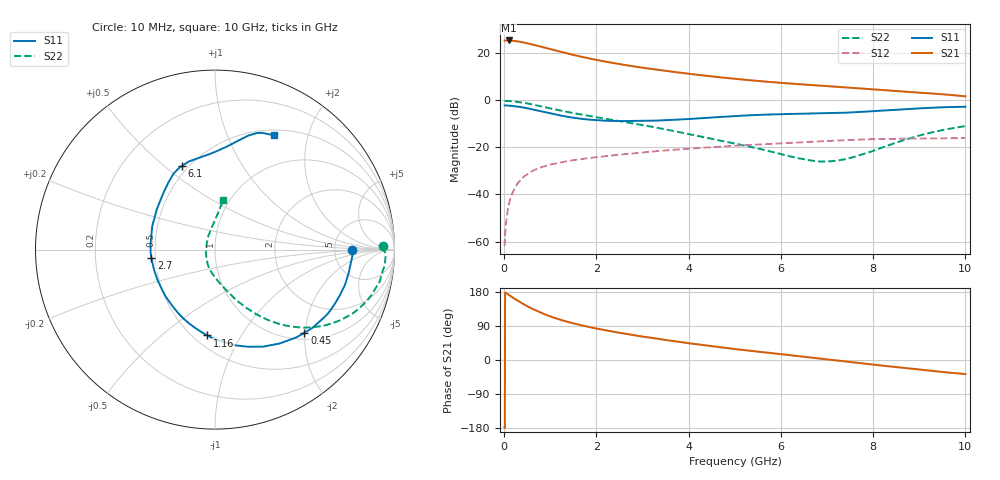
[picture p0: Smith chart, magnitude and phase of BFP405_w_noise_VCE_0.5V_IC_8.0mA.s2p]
! Infineon Technologies  Discrete & RF Semiconductors
! BFP405
! VCE =  0.5 V,  IC =  8.0 mA
! Common Emitter S-Parameters:  Jan 2016
# GHz  S  MA  R  50
!  f  S11  S21  S12  S22
! GHz  MAG  ANG  MAG  ANG  MAG  ANG  MAG  ANG
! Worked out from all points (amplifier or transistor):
!   233 points, 10 MHz to 10 GHz, reference 50 ohm
!   highest |S21| = 25.2 dB at 100 MHz (marker M1)
!   |S21| within 3 dB of that: start of sweep to 869.7 MHz
!   unconditionally stable (mu >= 1): start of sweep to 16.58 MHz; 2.339 GHz to end of sweep
!   at 200 MHz: K = 0.18, MSG = 31.8 dB, |S12| = -38.6 dB
!   at 1.74 GHz: K = 0.82, MSG = 21.4 dB, |S12| = -24.9 dB
!   at 10 GHz: K = 1.49, MAG = 4.7 dB, |S12| = -16.2 dB
!   lowest NFmin = 1.48 dB at 900 MHz
!   S11 on the Smith chart (normalised r, x): 10 MHz: 7.36, +0.00; 450 MHz: 1.15, -1.98; 1.16 GHz: 0.59, -0.73; 2.7 GHz: 0.48, -0.05; 6.1 GHz: 0.46, +0.58; 10 GHz: 0.57, +1.49
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0.01  0.7609 0.0  18.06 -177.3  0.0008 86.3  0.9344 1.1
0.02  0.768 -1.9  18.11 178.2  0.0014 99.5  0.9458 -0.7
0.05  0.7619 -4.9  18.05 176.4  0.0029 81.8  0.951 -2.4
0.1  0.7559 -9.9  18.14 171.8  0.0059 85.5  0.9494 -5.3
0.26  0.7302 -25.7  17.57 159.2  0.0152 77.0  0.9177 -14.0
0.4  0.6961 -38.8  16.62 148.8  0.0223 70.5  0.8772 -20.8
0.45  0.6806 -43.0  16.21 145.4  0.0246 68.4  0.8601 -23.1
0.6  0.6346 -55.6  15 135.7  0.0307 63.0  0.8051 -29.1
0.8  0.5727 -71.0  13.38 124.5  0.0372 57.4  0.7321 -35.6
1  0.5175 -84.6  11.87 115.0  0.0428 52.8  0.6602 -41.2
1.16  0.4799 -95.1  10.82 108.6  0.0462 50.2  0.6132 -44.5
1.4  0.4352 -109.7  9.454 99.9  0.0511 47.0  0.5479 -49.1
1.68  0.3977 -125.1  8.178 91.5  0.056 44.3  0.4869 -53.2
2.12  0.3654 -147.2  6.671 80.3  0.0633 40.9  0.4105 -58.5
2.7  0.3571 -172.3  5.327 67.8  0.0725 37.1  0.3296 -64.8
3.4  0.3682 162.9  4.246 54.8  0.0836 32.4  0.2479 -72.9
4  0.3949 145.0  3.573 44.2  0.0927 28.3  0.1888 -81.9
5.1  0.461 123.3  2.736 27.6  0.1081 20.6  0.1135 -105.0
6.1  0.5017 111.6  2.257 14.0  0.122 13.5  0.0674 -134.5
6.8  0.5161 101.7  2.014 4.5  0.132 8.0  0.0498 -174.0
8.4  0.6113 79.0  1.564 -17.5  0.1498 -7.0  0.1152 101.1
10  0.7163 62.7  1.191 -37.1  0.1553 -18.9  0.2792 80.9
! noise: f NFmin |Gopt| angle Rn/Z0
0.9  1.48  0.25  8  0.32
1.8  1.74  0.19  10  0.3
2.4  1.86  0.16  14  0.3
3  1.88  0.12  33  0.28
4  2.05  0.03  -6  0.27
5  2.41  0.06  -110  0.26
